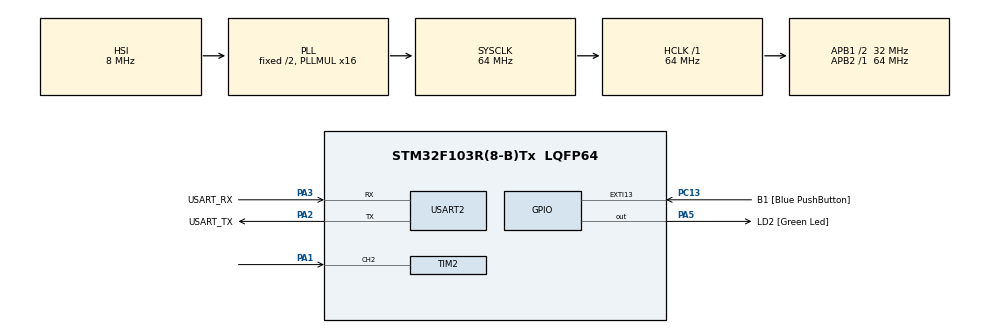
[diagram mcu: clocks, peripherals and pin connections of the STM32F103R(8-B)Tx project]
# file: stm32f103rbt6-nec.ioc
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Dma.Request0=TIM2_CH2/CH4
Dma.TIM2_CH2/CH4.0.Direction=DMA_PERIPH_TO_MEMORY
Dma.TIM2_CH2/CH4.0.Instance=DMA1_Channel7
Dma.TIM2_CH2/CH4.0.MemDataAlignment=DMA_MDATAALIGN_HALFWORD
Dma.TIM2_CH2/CH4.0.MemInc=DMA_MINC_ENABLE
Dma.TIM2_CH2/CH4.0.Mode=DMA_NORMAL
Dma.TIM2_CH2/CH4.0.PeriphDataAlignment=DMA_PDATAALIGN_HALFWORD
Dma.TIM2_CH2/CH4.0.PeriphInc=DMA_PINC_DISABLE
Dma.TIM2_CH2/CH4.0.Priority=DMA_PRIORITY_LOW
Mcu.Family=STM32F1
Mcu.Name=STM32F103R(8-B)Tx
Mcu.Package=LQFP64
NVIC.DMA1_Channel7_IRQn=true\:0\:0\:false\:false\:true\:false\:true\:true
NVIC.EXTI15_10_IRQn=true\:0\:0\:false\:false\:true\:true\:true\:true
NVIC.PriorityGroup=NVIC_PRIORITYGROUP_4
NVIC.TIM2_IRQn=true\:0\:0\:false\:false\:true\:true\:true\:true
PA1.Signal=S_TIM2_CH2
PA13.GPIO_Label=TMS
PA13.Mode=Serial_Wire
PA13.Signal=SYS_JTMS-SWDIO
PA14.GPIO_Label=TCK
PA14.Mode=Serial_Wire
PA14.Signal=SYS_JTCK-SWCLK
PA2.GPIO_Label=USART_TX
PA2.GPIO_Mode=GPIO_MODE_AF_PP
PA2.GPIO_PuPd=GPIO_NOPULL
PA2.GPIO_Speed=GPIO_SPEED_FREQ_LOW
PA2.Mode=Asynchronous
PA2.Signal=USART2_TX
PA3.GPIO_Label=USART_RX
PA3.GPIO_Mode=GPIO_MODE_AF_PP
PA3.GPIO_PuPd=GPIO_NOPULL
PA3.GPIO_Speed=GPIO_SPEED_FREQ_LOW
PA3.Mode=Asynchronous
PA3.Signal=USART2_RX
PA5.GPIO_Label=LD2 [Green Led]
PA5.GPIO_ModeDefaultOutputPP=GPIO_MODE_OUTPUT_PP
PA5.GPIO_PuPd=GPIO_NOPULL
PA5.GPIO_Speed=GPIO_SPEED_FREQ_LOW
PA5.Signal=GPIO_Output
PB3.GPIO_Label=SWO
PB3.Signal=SYS_JTDO-TRACESWO
PC13-TAMPER-RTC.GPIO_Label=B1 [Blue PushButton]
PC13-TAMPER-RTC.GPIO_PuPd=GPIO_NOPULL
PC13-TAMPER-RTC.Signal=GPXTI13
PC14-OSC32_IN.Mode=LSE-External-Oscillator
PC14-OSC32_IN.Signal=RCC_OSC32_IN
PC15-OSC32_OUT.Mode=LSE-External-Oscillator
PC15-OSC32_OUT.Signal=RCC_OSC32_OUT
PD0-OSC_IN.Mode=HSE-External-Clock-Source
PD0-OSC_IN.Signal=RCC_OSC_IN
PD1-OSC_OUT.Mode=HSE-External-Clock-Source
PD1-OSC_OUT.Signal=RCC_OSC_OUT
ProjectManager.HeapSize=0x200
ProjectManager.StackSize=0x400
ProjectManager.TargetToolchain=STM32CubeIDE
RCC.AHBFreq_Value=64000000
RCC.APB1CLKDivider=RCC_HCLK_DIV2
RCC.APB1Freq_Value=32000000
RCC.APB1TimFreq_Value=64000000
RCC.APB2Freq_Value=64000000
RCC.APB2TimFreq_Value=64000000
RCC.HCLKFreq_Value=64000000
RCC.PLLMUL=RCC_PLL_MUL16
RCC.RTCClockSelection=RCC_RTCCLKSOURCE_LSE
RCC.SYSCLKFreq_VALUE=64000000
RCC.SYSCLKSource=RCC_SYSCLKSOURCE_PLLCLK
RCC.USBFreq_Value=64000000
SH.S_TIM2_CH2.0=TIM2_CH2,Input_Capture2_from_TI2
SH.S_TIM2_CH2.1=TIM2_CH2,TriggerSource_TI2FP2
TIM2.Channel-Input_Capture2_from_TI2=TIM_CHANNEL_2
TIM2.ICPolarity_CH2=TIM_INPUTCHANNELPOLARITY_FALLING
TIM2.Prescaler=64-1
TIM2.Slave_TriggerPolarity=TIM_TRIGGERPOLARITY_BOTHEDGE
USART2.VirtualMode=VM_ASYNC
VP_TIM2_VS_ClockSourceINT.Mode=Internal
VP_TIM2_VS_ControllerModeReset.Mode=Reset Mode
board=NUCLEO-F103RB

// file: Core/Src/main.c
/* USER CODE BEGIN Header */
/**
  ******************************************************************************
  * @file           : main.c
  * @brief          : Main program body
  ******************************************************************************
  * @attention
  *
  * Copyright (c) 2024 STMicroelectronics.
  * All rights reserved.
  *
  * This software is licensed under terms that can be found in the LICENSE file
  * in the root directory of this software component.
  * If no LICENSE file comes with this software, it is provided AS-IS.
  *
  ******************************************************************************
  */
/* USER CODE END Header */
#include "main.h"

/* USER CODE BEGIN Includes */
#include <stdio.h>
#include <string.h>
/* USER CODE END Includes */

TIM_HandleTypeDef htim2;
DMA_HandleTypeDef hdma_tim2_ch2_ch4;

UART_HandleTypeDef huart2;

/* USER CODE BEGIN PV */
uint16_t timer_buffer[34] = {0,};
static uint8_t end_flag = 0;
uint8_t decode[4];
/* USER CODE END PV */

void SystemClock_Config(void);
static void MX_GPIO_Init(void);
static void MX_DMA_Init(void);
static void MX_TIM2_Init(void);
static void MX_USART2_UART_Init(void);
/* USER CODE BEGIN PFP */
void nec_init(void);
/* USER CODE END PFP */

/* USER CODE BEGIN 0 */
int _write(int file, char *ptr, int len)
{
	HAL_UART_Transmit(&huart2, (uint8_t*)ptr, len, 100);
	return len;
}

void nec_init(void)
{
	HAL_TIM_IC_Start_DMA(&htim2, TIM_CHANNEL_2, (uint32_t*)timer_buffer, 34);
}

void HAL_TIM_IC_CaptureCallback(TIM_HandleTypeDef *htim)
{
	if (htim == &htim2)
	{
		end_flag = 1;
	}
}

void nec_decode(void)
{
	uint8_t i=0;
	uint16_t temp[32];

	memcpy(temp, &timer_buffer[2], sizeof(uint16_t) * 32);
	if (timer_buffer[1] > 13500)
	{
		printf("HEADER PULSE Captured\r\n");

	  for (i=0; i<32; i++)
	  {
//	  	uint8_t j=i-2;
		  if (temp[i] > 1100 && temp[i] < 1200)
		  {
			  decode[i/8] += (0<<(i%8));
		  }
		  else if (temp[i] > 2200 && temp[i] < 2300)
		  {
			  decode[i/8] += (1<<(i%8));
		  }
	  }
	  for (i=0; i<4; i++)
		{
			printf("decode[%d] : 0x%x\r\n", i, decode[i]);
		}
	}
}
/* USER CODE END 0 */

int main(void)
{

  /* MCU Configuration--------------------------------------------------------*/

  /* Reset of all peripherals, Initializes the Flash interface and the Systick. */
  HAL_Init();

  /* Configure the system clock */
  SystemClock_Config();

  /* Initialize all configured peripherals */
  MX_GPIO_Init();
  MX_DMA_Init();
  MX_TIM2_Init();
  MX_USART2_UART_Init();
  /* USER CODE BEGIN 2 */
  nec_init();
  /* USER CODE END 2 */

  /* Infinite loop */
  /* USER CODE BEGIN WHILE */
  while (1)
  {
	  if (end_flag)
	  {
		end_flag = 0;
		nec_decode();
	    if (end_flag == 0 && HAL_GPIO_ReadPin(B1_GPIO_Port, B1_Pin) == GPIO_PIN_SET)
			{
				nec_init();
			}
	  }
    /* USER CODE END WHILE */

  }
}

void SystemClock_Config(void)
{
  RCC_OscInitTypeDef RCC_OscInitStruct = {0};
  RCC_ClkInitTypeDef RCC_ClkInitStruct = {0};

  /** Initializes the RCC Oscillators according to the specified parameters
  * in the RCC_OscInitTypeDef structure.
  */
  RCC_OscInitStruct.OscillatorType = RCC_OSCILLATORTYPE_HSI;
  RCC_OscInitStruct.HSIState = RCC_HSI_ON;
  RCC_OscInitStruct.HSICalibrationValue = RCC_HSICALIBRATION_DEFAULT;
  RCC_OscInitStruct.PLL.PLLState = RCC_PLL_ON;
  RCC_OscInitStruct.PLL.PLLSource = RCC_PLLSOURCE_HSI_DIV2;
  RCC_OscInitStruct.PLL.PLLMUL = RCC_PLL_MUL16;
  if (HAL_RCC_OscConfig(&RCC_OscInitStruct) != HAL_OK)
  {
    Error_Handler();
  }

  /** Initializes the CPU, AHB and APB buses clocks
  */
  RCC_ClkInitStruct.ClockType = RCC_CLOCKTYPE_HCLK|RCC_CLOCKTYPE_SYSCLK
                              |RCC_CLOCKTYPE_PCLK1|RCC_CLOCKTYPE_PCLK2;
  RCC_ClkInitStruct.SYSCLKSource = RCC_SYSCLKSOURCE_PLLCLK;
  RCC_ClkInitStruct.AHBCLKDivider = RCC_SYSCLK_DIV1;
  RCC_ClkInitStruct.APB1CLKDivider = RCC_HCLK_DIV2;
  RCC_ClkInitStruct.APB2CLKDivider = RCC_HCLK_DIV1;

  if (HAL_RCC_ClockConfig(&RCC_ClkInitStruct, FLASH_LATENCY_2) != HAL_OK)
  {
    Error_Handler();
  }
}

static void MX_TIM2_Init(void)
{

  TIM_ClockConfigTypeDef sClockSourceConfig = {0};
  TIM_SlaveConfigTypeDef sSlaveConfig = {0};
  TIM_MasterConfigTypeDef sMasterConfig = {0};
  TIM_IC_InitTypeDef sConfigIC = {0};

  htim2.Instance = TIM2;
  htim2.Init.Prescaler = 64-1;
  htim2.Init.CounterMode = TIM_COUNTERMODE_UP;
  htim2.Init.Period = 65535;
  htim2.Init.ClockDivision = TIM_CLOCKDIVISION_DIV1;
  htim2.Init.AutoReloadPreload = TIM_AUTORELOAD_PRELOAD_DISABLE;
  if (HAL_TIM_Base_Init(&htim2) != HAL_OK)
  {
    Error_Handler();
  }
  sClockSourceConfig.ClockSource = TIM_CLOCKSOURCE_INTERNAL;
  if (HAL_TIM_ConfigClockSource(&htim2, &sClockSourceConfig) != HAL_OK)
  {
    Error_Handler();
  }
  if (HAL_TIM_IC_Init(&htim2) != HAL_OK)
  {
    Error_Handler();
  }
  sSlaveConfig.SlaveMode = TIM_SLAVEMODE_RESET;
  sSlaveConfig.InputTrigger = TIM_TS_TI2FP2;
  sSlaveConfig.TriggerPolarity = TIM_TRIGGERPOLARITY_BOTHEDGE;
  sSlaveConfig.TriggerFilter = 0;
  if (HAL_TIM_SlaveConfigSynchro(&htim2, &sSlaveConfig) != HAL_OK)
  {
    Error_Handler();
  }
  sMasterConfig.MasterOutputTrigger = TIM_TRGO_RESET;
  sMasterConfig.MasterSlaveMode = TIM_MASTERSLAVEMODE_DISABLE;
  if (HAL_TIMEx_MasterConfigSynchronization(&htim2, &sMasterConfig) != HAL_OK)
  {
    Error_Handler();
  }
  sConfigIC.ICPolarity = TIM_INPUTCHANNELPOLARITY_FALLING;
  sConfigIC.ICSelection = TIM_ICSELECTION_DIRECTTI;
  sConfigIC.ICPrescaler = TIM_ICPSC_DIV1;
  sConfigIC.ICFilter = 0;
  if (HAL_TIM_IC_ConfigChannel(&htim2, &sConfigIC, TIM_CHANNEL_2) != HAL_OK)
  {
    Error_Handler();
  }

}

static void MX_USART2_UART_Init(void)
{

  huart2.Instance = USART2;
  huart2.Init.BaudRate = 115200;
  huart2.Init.WordLength = UART_WORDLENGTH_8B;
  huart2.Init.StopBits = UART_STOPBITS_1;
  huart2.Init.Parity = UART_PARITY_NONE;
  huart2.Init.Mode = UART_MODE_TX_RX;
  huart2.Init.HwFlowCtl = UART_HWCONTROL_NONE;
  huart2.Init.OverSampling = UART_OVERSAMPLING_16;
  if (HAL_UART_Init(&huart2) != HAL_OK)
  {
    Error_Handler();
  }

}

static void MX_DMA_Init(void)
{

  /* DMA controller clock enable */
  __HAL_RCC_DMA1_CLK_ENABLE();

  /* DMA interrupt init */
  /* DMA1_Channel7_IRQn interrupt configuration */
  HAL_NVIC_SetPriority(DMA1_Channel7_IRQn, 0, 0);
  HAL_NVIC_EnableIRQ(DMA1_Channel7_IRQn);

}

static void MX_GPIO_Init(void)
{
  GPIO_InitTypeDef GPIO_InitStruct = {0};

  /* GPIO Ports Clock Enable */
  __HAL_RCC_GPIOC_CLK_ENABLE();
  __HAL_RCC_GPIOD_CLK_ENABLE();
  __HAL_RCC_GPIOA_CLK_ENABLE();
  __HAL_RCC_GPIOB_CLK_ENABLE();

  /*Configure GPIO pin Output Level */
  HAL_GPIO_WritePin(LD2_GPIO_Port, LD2_Pin, GPIO_PIN_RESET);

  /*Configure GPIO pin : B1_Pin */
  GPIO_InitStruct.Pin = B1_Pin;
  GPIO_InitStruct.Mode = GPIO_MODE_IT_RISING;
  GPIO_InitStruct.Pull = GPIO_NOPULL;
  HAL_GPIO_Init(B1_GPIO_Port, &GPIO_InitStruct);

  /*Configure GPIO pin : LD2_Pin */
  GPIO_InitStruct.Pin = LD2_Pin;
  GPIO_InitStruct.Mode = GPIO_MODE_OUTPUT_PP;
  GPIO_InitStruct.Pull = GPIO_NOPULL;
  GPIO_InitStruct.Speed = GPIO_SPEED_FREQ_LOW;
  HAL_GPIO_Init(LD2_GPIO_Port, &GPIO_InitStruct);

  /* EXTI interrupt init*/
  HAL_NVIC_SetPriority(EXTI15_10_IRQn, 0, 0);
  HAL_NVIC_EnableIRQ(EXTI15_10_IRQn);

}

void Error_Handler(void)
{
  __disable_irq();
  while (1)
  {
  }
}
